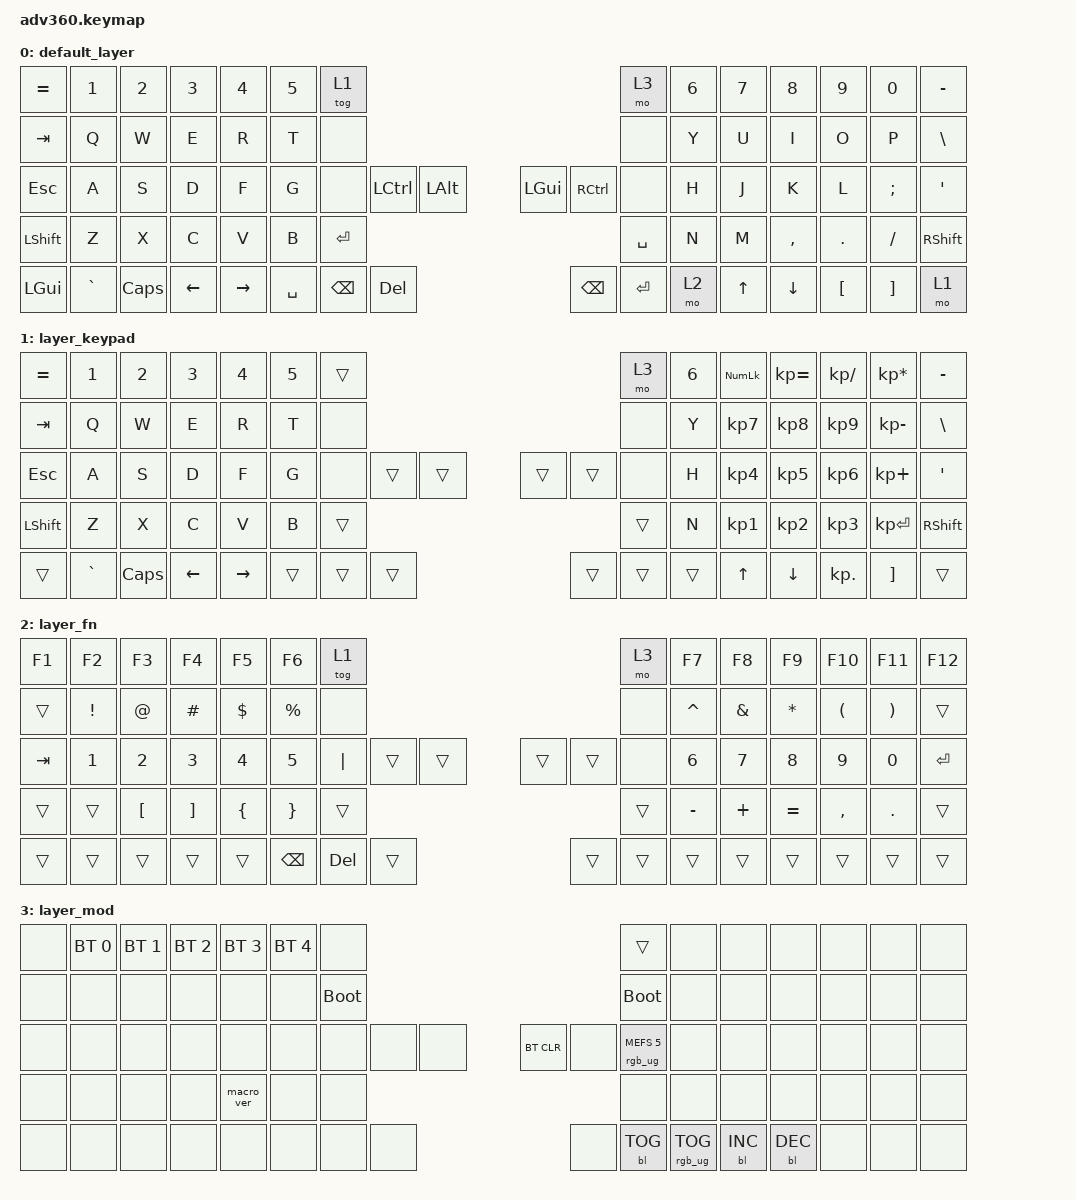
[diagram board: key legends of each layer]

/*
 * Copyright (c) 2020 The ZMK Contributors
 *
 * SPDX-License-Identifier: MIT
 */


/* THIS FILE WAS GENERATED!
 *
 * This file was generated automatically. You may or may not want to
 * edit it directly.
 */

#include <behaviors.dtsi>
#include <dt-bindings/zmk/keys.h>
#include <dt-bindings/zmk/bt.h>
#include <dt-bindings/zmk/rgb.h>
#include <dt-bindings/zmk/backlight.h>

/ {
  behaviors {
    #include "macros.dtsi"
    #include "version.dtsi"

    hm: homerow_mods {
        compatible = "zmk,behavior-hold-tap";
        label = "HOMEROW_MODS";
        #binding-cells = <2>;
        tapping-term-ms = <200>;
        quick_tap_ms = <175>;
        flavor = "tap-preferred";
        bindings = <&kp>, <&kp>;
    };
  };

    keymap {
        compatible = "zmk,keymap";


        default_layer {
            bindings = <
 &kp EQUAL     &kp N1    &kp N2    &kp N3     &kp N4  &kp N5               &tog 1                                                                    &mo 3  &kp N6  &kp N7     &kp N8    &kp N9    &kp N0  &kp MINUS
   &kp TAB      &kp Q     &kp W     &kp E      &kp R   &kp T                &none                                                                    &none   &kp Y   &kp U      &kp I     &kp O     &kp P   &kp BSLH
   &kp ESC      &kp A     &kp S     &kp D      &kp F   &kp G                &none      &kp LCTRL    &kp LALT                   &kp LGUI  &kp RCTRL   &none   &kp H   &kp J      &kp K     &kp L  &kp SEMI    &kp SQT
 &kp LSHFT      &kp Z     &kp X     &kp C      &kp V   &kp B                                       &kp ENTER                  &kp SPACE                      &kp N   &kp M  &kp COMMA   &kp DOT  &kp FSLH  &kp RSHFT
  &kp LGUI  &kp GRAVE  &kp CAPS  &kp LEFT  &kp RIGHT                    &kp SPACE  &kp BACKSPACE  &kp DELETE                   &kp BSPC  &kp ENTER   &mo 2          &kp UP   &kp DOWN  &kp LBKT  &kp RBKT      &mo 1
            >;
        };

        layer_keypad {
            bindings = <
 &kp EQUAL     &kp N1    &kp N2    &kp N3     &kp N4  &kp N5            &trans                                                   &mo 3  &kp N6  &kp KP_NUM  &kp KP_EQUAL  &kp KP_DIVIDE  &kp KP_MULTIPLY  &kp MINUS
   &kp TAB      &kp Q     &kp W     &kp E      &kp R   &kp T             &none                                                   &none   &kp Y   &kp KP_N7     &kp KP_N8      &kp KP_N9     &kp KP_MINUS   &kp BSLH
   &kp ESC      &kp A     &kp S     &kp D      &kp F   &kp G             &none  &trans  &trans                  &trans  &trans   &none   &kp H   &kp KP_N4     &kp KP_N5      &kp KP_N6      &kp KP_PLUS    &kp SQT
 &kp LSHFT      &kp Z     &kp X     &kp C      &kp V   &kp B                            &trans                  &trans                   &kp N   &kp KP_N1     &kp KP_N2      &kp KP_N3     &kp KP_ENTER  &kp RSHFT
    &trans  &kp GRAVE  &kp CAPS  &kp LEFT  &kp RIGHT                    &trans  &trans  &trans                  &trans  &trans  &trans              &kp UP      &kp DOWN     &kp KP_DOT         &kp RBKT     &trans
            >;
        };

        layer_fn {
            bindings = <
  &kp F1           &kp F2            &kp F3             &kp F4          &kp F5           &kp F6                   &tog 1                                                       &mo 3     &kp F7    &kp F8     &kp F9    &kp F10     &kp F11    &kp F12
  &trans  &kp EXCLAMATION            &kp AT           &kp HASH      &kp DOLLAR        &kp PRCNT                    &none                                                       &none  &kp CARET  &kp AMPS   &kp STAR   &kp LPAR    &kp RPAR     &trans
 &kp TAB           &kp N1            &kp N2             &kp N3          &kp N4           &kp N5                 &kp PIPE      &trans  &trans                  &trans  &trans   &none     &kp N6    &kp N7     &kp N8     &kp N9      &kp N0  &kp ENTER
  &trans           &trans  &kp LEFT_BRACKET  &kp RIGHT_BRACKET  &kp LEFT_BRACE  &kp RIGHT_BRACE                                       &trans                  &trans                  &kp MINUS  &kp PLUS  &kp EQUAL  &kp COMMA  &kp PERIOD     &trans
  &trans           &trans            &trans             &trans          &trans                             &kp BACKSPACE  &kp DELETE  &trans                  &trans  &trans  &trans               &trans     &trans     &trans      &trans     &trans
            >;
        };

        layer_mod {
            bindings = <
  &none  &bt BT_SEL 0  &bt BT_SEL 1  &bt BT_SEL 2  &bt BT_SEL 3  &bt BT_SEL 4                  &none                                                                          &trans   &none       &none       &none   &none   &none   &none
  &none         &none         &none         &none         &none         &none            &bootloader                                                                     &bootloader   &none       &none       &none   &none   &none   &none
  &none         &none         &none         &none         &none         &none                  &none   &none   &none                  &bt BT_CLR       &none  &rgb_ug RGB_MEFS_CMD 5   &none       &none       &none   &none   &none   &none
  &none         &none         &none         &none    &macro_ver         &none                                  &none                       &none                                       &none       &none       &none   &none   &none   &none
  &none         &none         &none         &none         &none                                &none   &none   &none                       &none  &bl BL_TOG         &rgb_ug RGB_TOG          &bl BL_INC  &bl BL_DEC   &none   &none   &none
            >;
        };

    };
};
